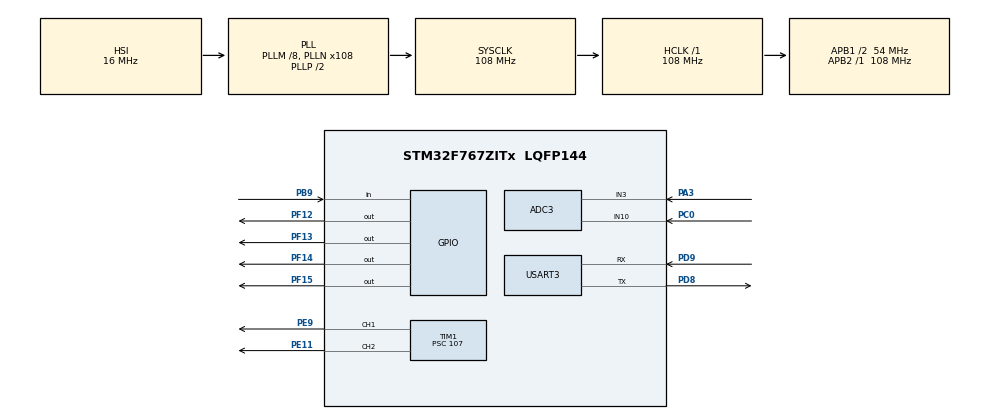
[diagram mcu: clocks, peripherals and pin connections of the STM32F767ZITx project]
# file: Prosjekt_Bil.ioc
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ADC3.Channel-4\#ChannelRegularConversion=ADC_CHANNEL_10
ADC3.Channel-5\#ChannelRegularConversion=ADC_CHANNEL_3
ADC3.NbrOfConversion=2
ADC3.NbrOfConversionFlag=1
ADC3.Rank-4\#ChannelRegularConversion=1
ADC3.Rank-5\#ChannelRegularConversion=2
ADC3.SamplingTime-4\#ChannelRegularConversion=ADC_SAMPLETIME_56CYCLES
ADC3.SamplingTime-5\#ChannelRegularConversion=ADC_SAMPLETIME_56CYCLES
ADC3.ScanConvMode=ADC_SCAN_ENABLE
Mcu.Family=STM32F7
Mcu.Name=STM32F767ZITx
Mcu.Package=LQFP144
NVIC.PriorityGroup=NVIC_PRIORITYGROUP_4
PA3.Signal=ADCx_IN3
PB9.GPIO_PuPd=GPIO_PULLUP
PB9.Signal=GPIO_Input
PC0.Signal=ADCx_IN10
PD8.Mode=Asynchronous
PD8.Signal=USART3_TX
PD9.Mode=Asynchronous
PD9.Signal=USART3_RX
PE11.Signal=S_TIM1_CH2
PE9.Signal=S_TIM1_CH1
PF12.Signal=GPIO_Output
PF13.Signal=GPIO_Output
PF14.Signal=GPIO_Output
PF15.Signal=GPIO_Output
PH0/OSC_IN.Mode=HSE-External-Oscillator
PH0/OSC_IN.Signal=RCC_OSC_IN
PH1/OSC_OUT.Mode=HSE-External-Oscillator
PH1/OSC_OUT.Signal=RCC_OSC_OUT
ProjectManager.HeapSize=0x200
ProjectManager.StackSize=0x400
ProjectManager.TargetToolchain=STM32CubeIDE
RCC.48MHZClocksFreq_Value=24000000
RCC.AHBFreq_Value=108000000
RCC.APB1CLKDivider=RCC_HCLK_DIV2
RCC.APB1Freq_Value=54000000
RCC.APB1TimFreq_Value=108000000
RCC.APB2Freq_Value=108000000
RCC.APB2TimFreq_Value=108000000
RCC.CortexFreq_Value=108000000
RCC.HCLKFreq_Value=108000000
RCC.HSE_VALUE=8000000
RCC.HSI_VALUE=16000000
RCC.LSE_VALUE=32768
RCC.PLLM=8
RCC.PLLMUL=RCC_PLL_MUL9
RCC.PLLN=108
RCC.PRESCALERUSB=RCC_USBCLKSOURCE_PLL_DIV1_5
RCC.SYSCLKFreq_VALUE=108000000
RCC.SYSCLKSource=RCC_SYSCLKSOURCE_PLLCLK
RCC.SYSCLKSourceVirtual=RCC_SYSCLKSOURCE_PLLCLK
RCC.USBFreq_Value=108000000
RCC.VCOOutputFreq_Value=216000000
SH.ADCx_IN10.0=ADC3_IN10,IN10
SH.ADCx_IN3.0=ADC3_IN3,IN3
SH.S_TIM1_CH1.0=TIM1_CH1,PWM Generation1 CH1
SH.S_TIM1_CH2.0=TIM1_CH2,PWM Generation2 CH2
TIM1.Channel-PWM\ Generation1\ CH1=TIM_CHANNEL_1
TIM1.Channel-PWM\ Generation2\ CH2=TIM_CHANNEL_2
TIM1.Period=19999
TIM1.Prescaler=107
USART3.VirtualMode-Asynchronous=VM_ASYNC
VP_TIM1_VS_ClockSourceINT.Mode=Internal
board=NUCLEO-F767ZI

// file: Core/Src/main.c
/* USER CODE BEGIN Header */
/**
  ******************************************************************************
  * @file           : main.c
  * @brief          : Main program body
  ******************************************************************************
  * @attention
  *
  * Copyright (c) 2026 STMicroelectronics.
  * All rights reserved.
  *
  * This software is licensed under terms that can be found in the LICENSE file
  * in the root directory of this software component.
  * If no LICENSE file comes with this software, it is provided AS-IS.
  *
  ******************************************************************************
  */
/* USER CODE END Header */
#include "main.h"

/* USER CODE BEGIN PD */

  #define MAX_DUTY 50000

/* USER CODE END PD */

ADC_HandleTypeDef hadc3;

TIM_HandleTypeDef htim1;

UART_HandleTypeDef huart3;

/* USER CODE BEGIN PV */

  uint16_t adc_value_yakse = 0;
  uint16_t adc_value_xakse = 0;
  int32_t x = 0;
  int32_t y = 0;
  int32_t turn = 0;
  uint32_t base_speed = 25000; // Base speed for the motors, can be adjusted as needed

/* USER CODE END PV */

void SystemClock_Config(void);
static void MX_GPIO_Init(void);
static void MX_USART3_UART_Init(void);
static void MX_ADC3_Init(void);
static void MX_TIM1_Init(void);
static void Set_Motor(GPIO_TypeDef *port, uint16_t pin_fram, uint16_t pin_tilbake, uint32_t pwm_channel, int32_t verdi);

int main(void)
{

  /* MCU Configuration--------------------------------------------------------*/

  /* Reset of all peripherals, Initializes the Flash interface and the Systick. */
  HAL_Init();

  /* Configure the system clock */
  SystemClock_Config();

  /* Initialize all configured peripherals */
  MX_GPIO_Init();
  MX_USART3_UART_Init();
  MX_ADC3_Init();
  MX_TIM1_Init();
  /* USER CODE BEGIN 2 */

  HAL_TIM_PWM_Start(&htim1, TIM_CHANNEL_1); //Output til venstre
  HAL_TIM_PWM_Start(&htim1, TIM_CHANNEL_2); //Output til høyre

  /* USER CODE END 2 */

  /* Infinite loop */
  while (1)
  {

    /* USER CODE BEGIN 3 */

    HAL_ADC_Start(&hadc3);

    HAL_ADC_PollForConversion(&hadc3, HAL_MAX_DELAY);
    adc_value_yakse = HAL_ADC_GetValue(&hadc3);

    HAL_ADC_PollForConversion(&hadc3, HAL_MAX_DELAY);
    adc_value_xakse = HAL_ADC_GetValue(&hadc3);

    //Setter Midt på joysticken som midtepunkt for PWM signalene
    x = adc_value_xakse - 2048;
    y = adc_value_yakse - 2048;

    turn = adc_value_yakse - 2048;

    int32_t fram = x;
    int32_t sving = y;

    //Dead zone
    if (fram > -200 && fram < 200) fram = 0;
    if (sving > -200 && sving < 200) sving = 0;

    int32_t venstre = fram + sving;
    int32_t hoyre = fram - sving;

    Set_Motor(GPIOF, GPIO_PIN_13, GPIO_PIN_12, TIM_CHANNEL_1, venstre);
    Set_Motor(GPIOF, GPIO_PIN_14, GPIO_PIN_15, TIM_CHANNEL_2, hoyre);

  /* USER CODE END 3 */
  }
}

void SystemClock_Config(void)
{
  RCC_OscInitTypeDef RCC_OscInitStruct = {0};
  RCC_ClkInitTypeDef RCC_ClkInitStruct = {0};

  /** Configure the main internal regulator output voltage
  */
  __HAL_RCC_PWR_CLK_ENABLE();
  __HAL_PWR_VOLTAGESCALING_CONFIG(PWR_REGULATOR_VOLTAGE_SCALE3);

  /** Initializes the RCC Oscillators according to the specified parameters
  * in the RCC_OscInitTypeDef structure.
  */
  RCC_OscInitStruct.OscillatorType = RCC_OSCILLATORTYPE_HSI;
  RCC_OscInitStruct.HSIState = RCC_HSI_ON;
  RCC_OscInitStruct.HSICalibrationValue = RCC_HSICALIBRATION_DEFAULT;
  RCC_OscInitStruct.PLL.PLLState = RCC_PLL_ON;
  RCC_OscInitStruct.PLL.PLLSource = RCC_PLLSOURCE_HSI;
  RCC_OscInitStruct.PLL.PLLM = 8;
  RCC_OscInitStruct.PLL.PLLN = 108;
  RCC_OscInitStruct.PLL.PLLP = RCC_PLLP_DIV2;
  RCC_OscInitStruct.PLL.PLLQ = 2;
  RCC_OscInitStruct.PLL.PLLR = 2;
  if (HAL_RCC_OscConfig(&RCC_OscInitStruct) != HAL_OK)
  {
    Error_Handler();
  }

  /** Activate the Over-Drive mode
  */
  if (HAL_PWREx_EnableOverDrive() != HAL_OK)
  {
    Error_Handler();
  }

  /** Initializes the CPU, AHB and APB buses clocks
  */
  RCC_ClkInitStruct.ClockType = RCC_CLOCKTYPE_HCLK|RCC_CLOCKTYPE_SYSCLK
                              |RCC_CLOCKTYPE_PCLK1|RCC_CLOCKTYPE_PCLK2;
  RCC_ClkInitStruct.SYSCLKSource = RCC_SYSCLKSOURCE_PLLCLK;
  RCC_ClkInitStruct.AHBCLKDivider = RCC_SYSCLK_DIV1;
  RCC_ClkInitStruct.APB1CLKDivider = RCC_HCLK_DIV2;
  RCC_ClkInitStruct.APB2CLKDivider = RCC_HCLK_DIV1;

  if (HAL_RCC_ClockConfig(&RCC_ClkInitStruct, FLASH_LATENCY_3) != HAL_OK)
  {
    Error_Handler();
  }
}

static void MX_ADC3_Init(void)
{

  ADC_ChannelConfTypeDef sConfig = {0};

  /** Configure the global features of the ADC (Clock, Resolution, Data Alignment and number of conversion)
  */
  hadc3.Instance = ADC3;
  hadc3.Init.ClockPrescaler = ADC_CLOCK_SYNC_PCLK_DIV4;
  hadc3.Init.Resolution = ADC_RESOLUTION_12B;
  hadc3.Init.ScanConvMode = ADC_SCAN_ENABLE;
  hadc3.Init.ContinuousConvMode = DISABLE;
  hadc3.Init.DiscontinuousConvMode = DISABLE;
  hadc3.Init.ExternalTrigConvEdge = ADC_EXTERNALTRIGCONVEDGE_NONE;
  hadc3.Init.ExternalTrigConv = ADC_SOFTWARE_START;
  hadc3.Init.DataAlign = ADC_DATAALIGN_RIGHT;
  hadc3.Init.NbrOfConversion = 2;
  hadc3.Init.DMAContinuousRequests = DISABLE;
  hadc3.Init.EOCSelection = ADC_EOC_SINGLE_CONV;
  if (HAL_ADC_Init(&hadc3) != HAL_OK)
  {
    Error_Handler();
  }

  /** Configure for the selected ADC regular channel its corresponding rank in the sequencer and its sample time.
  */
  sConfig.Channel = ADC_CHANNEL_10;
  sConfig.Rank = ADC_REGULAR_RANK_1;
  sConfig.SamplingTime = ADC_SAMPLETIME_56CYCLES;
  if (HAL_ADC_ConfigChannel(&hadc3, &sConfig) != HAL_OK)
  {
    Error_Handler();
  }

  /** Configure for the selected ADC regular channel its corresponding rank in the sequencer and its sample time.
  */
  sConfig.Channel = ADC_CHANNEL_3;
  sConfig.Rank = ADC_REGULAR_RANK_2;
  if (HAL_ADC_ConfigChannel(&hadc3, &sConfig) != HAL_OK)
  {
    Error_Handler();
  }

}

static void MX_TIM1_Init(void)
{

  TIM_ClockConfigTypeDef sClockSourceConfig = {0};
  TIM_MasterConfigTypeDef sMasterConfig = {0};
  TIM_OC_InitTypeDef sConfigOC = {0};
  TIM_BreakDeadTimeConfigTypeDef sBreakDeadTimeConfig = {0};

  htim1.Instance = TIM1;
  htim1.Init.Prescaler = 0;
  htim1.Init.CounterMode = TIM_COUNTERMODE_UP;
  htim1.Init.Period = 65535;
  htim1.Init.ClockDivision = TIM_CLOCKDIVISION_DIV1;
  htim1.Init.RepetitionCounter = 0;
  htim1.Init.AutoReloadPreload = TIM_AUTORELOAD_PRELOAD_DISABLE;
  if (HAL_TIM_Base_Init(&htim1) != HAL_OK)
  {
    Error_Handler();
  }
  sClockSourceConfig.ClockSource = TIM_CLOCKSOURCE_INTERNAL;
  if (HAL_TIM_ConfigClockSource(&htim1, &sClockSourceConfig) != HAL_OK)
  {
    Error_Handler();
  }
  if (HAL_TIM_PWM_Init(&htim1) != HAL_OK)
  {
    Error_Handler();
  }
  sMasterConfig.MasterOutputTrigger = TIM_TRGO_RESET;
  sMasterConfig.MasterOutputTrigger2 = TIM_TRGO2_RESET;
  sMasterConfig.MasterSlaveMode = TIM_MASTERSLAVEMODE_DISABLE;
  if (HAL_TIMEx_MasterConfigSynchronization(&htim1, &sMasterConfig) != HAL_OK)
  {
    Error_Handler();
  }
  sConfigOC.OCMode = TIM_OCMODE_PWM1;
  sConfigOC.Pulse = 0;
  sConfigOC.OCPolarity = TIM_OCPOLARITY_HIGH;
  sConfigOC.OCNPolarity = TIM_OCNPOLARITY_HIGH;
  sConfigOC.OCFastMode = TIM_OCFAST_DISABLE;
  sConfigOC.OCIdleState = TIM_OCIDLESTATE_RESET;
  sConfigOC.OCNIdleState = TIM_OCNIDLESTATE_RESET;
  if (HAL_TIM_PWM_ConfigChannel(&htim1, &sConfigOC, TIM_CHANNEL_1) != HAL_OK)
  {
    Error_Handler();
  }
  if (HAL_TIM_PWM_ConfigChannel(&htim1, &sConfigOC, TIM_CHANNEL_2) != HAL_OK)
  {
    Error_Handler();
  }
  sBreakDeadTimeConfig.OffStateRunMode = TIM_OSSR_DISABLE;
  sBreakDeadTimeConfig.OffStateIDLEMode = TIM_OSSI_DISABLE;
  sBreakDeadTimeConfig.LockLevel = TIM_LOCKLEVEL_OFF;
  sBreakDeadTimeConfig.DeadTime = 0;
  sBreakDeadTimeConfig.BreakState = TIM_BREAK_DISABLE;
  sBreakDeadTimeConfig.BreakPolarity = TIM_BREAKPOLARITY_HIGH;
  sBreakDeadTimeConfig.BreakFilter = 0;
  sBreakDeadTimeConfig.Break2State = TIM_BREAK2_DISABLE;
  sBreakDeadTimeConfig.Break2Polarity = TIM_BREAK2POLARITY_HIGH;
  sBreakDeadTimeConfig.Break2Filter = 0;
  sBreakDeadTimeConfig.AutomaticOutput = TIM_AUTOMATICOUTPUT_DISABLE;
  if (HAL_TIMEx_ConfigBreakDeadTime(&htim1, &sBreakDeadTimeConfig) != HAL_OK)
  {
    Error_Handler();
  }
  HAL_TIM_MspPostInit(&htim1);

}

static void MX_USART3_UART_Init(void)
{

  huart3.Instance = USART3;
  huart3.Init.BaudRate = 115200;
  huart3.Init.WordLength = UART_WORDLENGTH_8B;
  huart3.Init.StopBits = UART_STOPBITS_1;
  huart3.Init.Parity = UART_PARITY_NONE;
  huart3.Init.Mode = UART_MODE_TX_RX;
  huart3.Init.HwFlowCtl = UART_HWCONTROL_NONE;
  huart3.Init.OverSampling = UART_OVERSAMPLING_16;
  huart3.Init.OneBitSampling = UART_ONE_BIT_SAMPLE_DISABLE;
  huart3.AdvancedInit.AdvFeatureInit = UART_ADVFEATURE_NO_INIT;
  if (HAL_UART_Init(&huart3) != HAL_OK)
  {
    Error_Handler();
  }

}

static void MX_GPIO_Init(void)
{
  GPIO_InitTypeDef GPIO_InitStruct = {0};

  /* GPIO Ports Clock Enable */
  __HAL_RCC_GPIOH_CLK_ENABLE();
  __HAL_RCC_GPIOC_CLK_ENABLE();
  __HAL_RCC_GPIOA_CLK_ENABLE();
  __HAL_RCC_GPIOF_CLK_ENABLE();
  __HAL_RCC_GPIOE_CLK_ENABLE();
  __HAL_RCC_GPIOD_CLK_ENABLE();
  __HAL_RCC_GPIOB_CLK_ENABLE();

  /*Configure GPIO pin Output Level */
  HAL_GPIO_WritePin(GPIOF, GPIO_PIN_12|GPIO_PIN_13|GPIO_PIN_14|GPIO_PIN_15, GPIO_PIN_RESET);

  /*Configure GPIO pins : PF12 PF13 PF14 PF15 */
  GPIO_InitStruct.Pin = GPIO_PIN_12|GPIO_PIN_13|GPIO_PIN_14|GPIO_PIN_15;
  GPIO_InitStruct.Mode = GPIO_MODE_OUTPUT_PP;
  GPIO_InitStruct.Pull = GPIO_NOPULL;
  GPIO_InitStruct.Speed = GPIO_SPEED_FREQ_LOW;
  HAL_GPIO_Init(GPIOF, &GPIO_InitStruct);

  /*Configure GPIO pin : PB9 */
  GPIO_InitStruct.Pin = GPIO_PIN_9;
  GPIO_InitStruct.Mode = GPIO_MODE_INPUT;
  GPIO_InitStruct.Pull = GPIO_PULLUP;
  HAL_GPIO_Init(GPIOB, &GPIO_InitStruct);

}

/* USER CODE BEGIN 4 */

static void Set_Motor(GPIO_TypeDef *port, uint16_t pin_fram, uint16_t pin_tilbake, uint32_t pwm_channel, int32_t verdi){

 if (verdi > 0){
  HAL_GPIO_WritePin(port, pin_fram, GPIO_PIN_SET);
  HAL_GPIO_WritePin(port, pin_tilbake, GPIO_PIN_RESET);
 } else if (verdi < 0){
  HAL_GPIO_WritePin(port, pin_fram, GPIO_PIN_RESET);
  HAL_GPIO_WritePin(port, pin_tilbake, GPIO_PIN_SET);
  verdi = -verdi;
 } else {
  HAL_GPIO_WritePin(port, pin_fram, GPIO_PIN_RESET);
  HAL_GPIO_WritePin(port, pin_tilbake, GPIO_PIN_RESET);
 }

 uint32_t duty = (uint32_t)verdi * MAX_DUTY / 2048;
 if (duty > MAX_DUTY) duty = MAX_DUTY;
 __HAL_TIM_SET_COMPARE(&htim1, pwm_channel, duty);
}

/* USER CODE END 4 */

void Error_Handler(void)
{
  __disable_irq();
  while (1)
  {
  }
}
